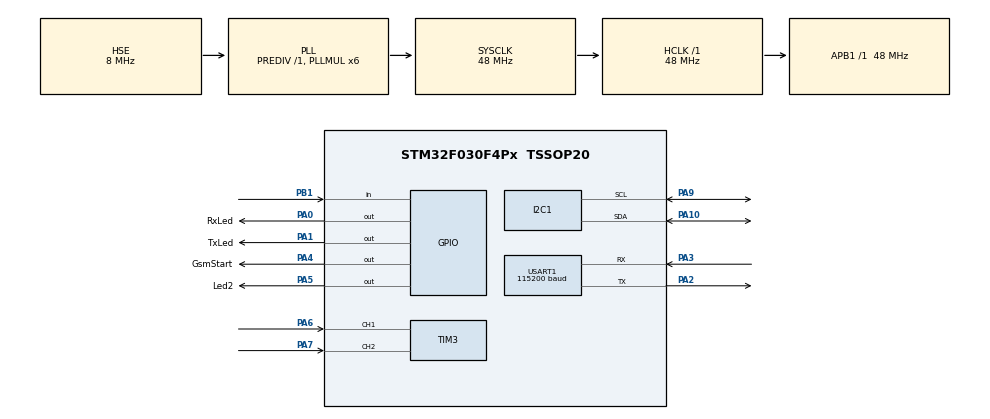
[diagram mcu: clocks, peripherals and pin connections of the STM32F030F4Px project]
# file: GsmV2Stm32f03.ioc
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I2C1.OwnAddress=0x09
Mcu.Family=STM32F0
Mcu.Name=STM32F030F4Px
Mcu.Package=TSSOP20
NVIC.TIM17_IRQn=true\:0\:0\:false\:false\:true\:true\:true\:true
NVIC.USART1_IRQn=true\:0\:0\:false\:false\:true\:true\:true\:true
PA0.GPIO_Label=RxLed
PA0.Signal=GPIO_Output
PA1.GPIO_Label=TxLed
PA1.Signal=GPIO_Output
PA10.GPIO_Pu=GPIO_PULLUP
PA10.Mode=I2C
PA10.Signal=I2C1_SDA
PA13.Mode=Serial_Wire
PA13.Signal=SYS_SWDIO
PA14.Mode=Serial_Wire
PA14.Signal=SYS_SWCLK
PA2.Mode=Asynchronous
PA2.Signal=USART1_TX
PA3.Mode=Asynchronous
PA3.Signal=USART1_RX
PA4.GPIO_Label=GsmStart
PA4.Signal=GPIO_Output
PA5.GPIO_Label=Led2
PA5.Signal=GPIO_Output
PA6.Signal=S_TIM3_CH1
PA7.Signal=S_TIM3_CH2
PA9.GPIO_Pu=GPIO_PULLUP
PA9.Mode=I2C
PA9.Signal=I2C1_SCL
PB1.Signal=GPIO_Input
PF0-OSC_IN.Mode=HSE-External-Oscillator
PF0-OSC_IN.Signal=RCC_OSC_IN
PF1-OSC_OUT.Mode=HSE-External-Oscillator
PF1-OSC_OUT.Signal=RCC_OSC_OUT
ProjectManager.HeapSize=0x200
ProjectManager.StackSize=0x400
ProjectManager.TargetToolchain=MDK-ARM V5.32
RCC.AHBFreq_Value=48000000
RCC.APB1Freq_Value=48000000
RCC.APB1TimFreq_Value=48000000
RCC.HCLKFreq_Value=48000000
RCC.PLLMUL=RCC_PLL_MUL6
RCC.PLLSourceVirtual=RCC_PLLSOURCE_HSE
RCC.SYSCLKFreq_VALUE=48000000
RCC.SYSCLKSource=RCC_SYSCLKSOURCE_PLLCLK
SH.S_TIM3_CH1.0=TIM3_CH1,Encoder_Interface
SH.S_TIM3_CH2.0=TIM3_CH2,Encoder_Interface
TIM17.Period=479
USART1.BaudRate=115200
USART1.VirtualMode-Asynchronous=VM_ASYNC
VP_TIM17_VS_ClockSourceINT.Mode=Enable_Timer
board=custom

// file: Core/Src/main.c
/* USER CODE BEGIN Header */
/**
  ******************************************************************************
  * @file           : main.c
  * @brief          : Main program body
  ******************************************************************************
  * @attention
  *
  * <h2><center>&copy; Copyright (c) 2022 STMicroelectronics.
  * All rights reserved.</center></h2>
  *
  * This software component is licensed by ST under BSD 3-Clause license,
  * the "License"; You may not use this file except in compliance with the
  * License. You may obtain a copy of the License at:
  *                        opensource.org/licenses/BSD-3-Clause
  *
  ******************************************************************************
  */
/* USER CODE END Header */
#include "main.h"

/* USER CODE BEGIN Includes */
#include "math.h"
#include "string.h"
#include "stdio.h"
/* USER CODE END Includes */

/* USER CODE BEGIN PTD */
#define	Versiyon 1

/* USER CODE END PTD */

/* USER CODE BEGIN PD */
# define GsmModulStart HAL_Delay(2000);HAL_GPIO_WritePin(GsmStart_GPIO_Port,GsmStart_Pin,GPIO_PIN_SET);HAL_Delay(800);HAL_GPIO_WritePin(GsmStart_GPIO_Port,GsmStart_Pin,GPIO_PIN_RESET);HAL_Delay(1000)

#define IPR "AT+IPR=115200"
#define CIPCLOSE "AT+CIPCLOSE\r\n"
#define CIPMODE "AT+CIPMODE=0\r\n"
#define CIPMUX "AT+CIPMUX=0\r\n"
#define CSTT "AT+CSTT="%s", "", """
#define CIICR "AT+CIICR\r\n"
#define CIPQSEND "AT+CIPQSEND=1\r\n"
#define ATE0  "ATE0\r\n"
#define AT  "AT\r\n"
#define APNSet "AT+CSTT="soracom.io"\r\n"
#define UPCont  "AT+CIICR\r\n"
#define CIFSR "AT+CIFSR\r\n" // ip sor

#define Led1Set			I2C_IO(1, 1)
#define Led1Reset		I2C_IO(1, 0)
#define Led2Set			I2C_IO(2, 1)
#define Led2Reset		I2C_IO(2, 0)
#define Led3Set			I2C_IO(3, 1)
#define Led3Reset		I2C_IO(3, 0)
#define Led4Set			I2C_IO(4, 1)
#define Led4Reset		I2C_IO(4, 0)

#define bin(a) ((( (a/10000000*128) + \
(((a/1000000)&1)*64) + \
(((a/100000)&1)*32) + \
(((a/10000)&1)*16) + \
(((a/1000)&1)*8) + \
(((a/100)&1)*4) + \
(((a/10)&1)*2) + \
(a&1)) * (a/10000000)) + \
(( ((a/262144)*64) + \
(((a/32768)&1)*32) + \
(((a/4096)&1)*16) + \
(((a/512)&1)*8) + \
(((a/64)&1)*4) + \
(((a/8)&1)*2) + \
(a&1)) * (1-(a/10000000))))

/* USER CODE END PD */

 I2C_HandleTypeDef hi2c1;

TIM_HandleTypeDef htim3;
TIM_HandleTypeDef htim17;

UART_HandleTypeDef huart1;

void SystemClock_Config(void);
static void MX_GPIO_Init(void);
static void MX_USART1_UART_Init(void);
static void MX_I2C1_Init(void);
static void MX_TIM3_Init(void);
static void MX_TIM17_Init(void);
/* USER CODE BEGIN PFP */
void Connect_Tcp_port(char *Ip ,char *Port);
float readTemp() ;
int MS_Delay(int Countt);
void TimerConutMs(void);
void TimerConutMs10(void);
void TimerConutMs100(void);
void TimerConutLoopSn(void);
void TimerConutLoop10Ms(void);
void TimerConutLoop100Ms(void);

void I2C_IO(uint8_t IO, uint8_t HighLow);
uint8_t DataComparator(uint8_t FirstByte  , char Array1[] , char Array2[] );
/* USER CODE END PFP */

/* USER CODE BEGIN 0 */
GPIO_InitTypeDef GPIO_InitStruct = {0};

uint8_t		RecordData[100] __attribute__((at(0x20001000))); // datayi kayidet

uint8_t PinDegistir=0;
uint8_t PinDegistir_t=0;
uint8_t LEDDurum=0;
uint8_t ButonDurum=0;

uint8_t CountUs=0;
uint16_t CountMs=0;
uint8_t Count10Ms=0;
uint8_t Count100Ms=0;
uint16_t EncoderCount=0;

uint8_t LoopSnFlag=0;
uint8_t Loop10MsFlag=0;
uint8_t Loop100MsFlag=0;

uint8_t LoopWatch=0;
float TimeMs=0;
uint32_t TimerCount=0;
#define AdcReadPin 4
uint32_t	ADCValue[AdcReadPin];
float AnalogValue1=0,AnalogValue=0,TempSensVoltmv=0,Volt=0;
uint8_t GsmErrorCount=0;

int			Humidity;
int			TempKart;
uint8_t 	status = 0;
uint8_t 	measure_RH_command = 0xE5;
uint8_t 	measure_Temp_command = 0xE0;
uint8_t 	measured_RH[5] = {0,0,0,0,0};
uint8_t 	measured_Temp[5] = {0,0,0,0,0};

char Dizi1[]={ 'a','z','1','g','h','j','k','w','t','y','u','o'};

char Dizi2[]={ 'a','z','1','g','h','j','k','w','t','y','u','o'};

uint16_t CycleCout = 0;

uint32_t Deger =0;

uint8_t  GsmGelenByte=0;
uint8_t  GsmGelenByteAry[100];
uint8_t GsmByteGonder[20]={'1','2','3','A','B','a','b','2','2','2','2','2','2','2','2','2','2','2','2'};
char TcpIp[40];
	char Msjlar[30];
	char tx_buffer[30];
		char Data_buffer[100];

	char APN[20];

uint8_t GsmByteGonderIndex=1;
uint8_t			GsmGelenByteStart=0;
uint8_t			GsmGelenByteKaydet=0;
uint8_t			GsmGelenByteIndex=0;
uint8_t   	GsmGelenByteStop=0;
uint8_t 	  GsmGelenByteKayitta=0;
uint8_t     GsmTcpStart=0;
uint8_t	Dongudencik=0;
uint8_t PortKApat=0;
uint32_t Count1 =450;
uint8_t	SicaklikSor=0;
uint16_t length=0;
uint8_t sistemKapat=0;
uint8_t 	YanitGeldi=0;
float sicaklikDerce=0;
uint32_t systemCont=0;
float sicaklikInt=0;
float sicaklikFloat=0;
uint8_t I2cOutPin=0;

uint8_t I2cOut=0;
uint8_t DataDogrumu=2;
/* USER CODE END 0 */

int main(void)
{

  /* MCU Configuration--------------------------------------------------------*/

  /* Reset of all peripherals, Initializes the Flash interface and the Systick. */
  HAL_Init();

  /* Configure the system clock */
  SystemClock_Config();

  /* Initialize all configured peripherals */
  MX_GPIO_Init();
  MX_USART1_UART_Init();
  MX_I2C1_Init();
  MX_TIM3_Init();
  MX_TIM17_Init();
  /* USER CODE BEGIN 2 */

//		HAL_Delay(3000);
//		HAL_GPIO_WritePin(TxLed_GPIO_Port,TxLed_Pin,GPIO_PIN_SET);
//		HAL_GPIO_WritePin(GsmStart_GPIO_Port,GsmStart_Pin,GPIO_PIN_SET);
//		HAL_Delay(850);
//		HAL_GPIO_WritePin(GsmStart_GPIO_Port,GsmStart_Pin,GPIO_PIN_RESET);
//		HAL_GPIO_WritePin(TxLed_GPIO_Port,TxLed_Pin,GPIO_PIN_RESET);
//		HAL_Delay(2000);
  /* USER CODE END 2 */

  /* Infinite loop */
  /* USER CODE BEGIN WHILE */

//	GsmModulStart;
		HAL_UART_Receive_IT(&huart1, (uint8_t *) &GsmGelenByte, 1);

//HAL_Delay(5000);
//HAL_Delay(2000);
//	HAL_UART_Transmit_IT(&huart1,(uint8_t *)APN,strlen(APN));HAL_Delay(2000);
//	HAL_UART_Transmit_IT(&huart1,(uint8_t *)IPR,strlen(IPR));HAL_Delay(2000);
//	HAL_UART_Transmit_IT(&huart1,(uint8_t *)CIPCLOSE,strlen(CIPCLOSE));HAL_Delay(2000);
//	HAL_UART_Transmit_IT(&huart1,(uint8_t *)CIPMODE,strlen(CIPMODE));HAL_Delay(2000);
//	HAL_UART_Transmit_IT(&huart1,(uint8_t *)CIPMUX,strlen(CIPMUX));HAL_Delay(2000);

//  	HAL_Delay(1000);HAL_UART_Transmit_IT(&huart1,(uint8_t *)"AT+CIPCLOSE\r\n",strlen("AT+CIPCLOSE\r\n"));
//	 	HAL_Delay(1000);HAL_UART_Transmit_IT(&huart1,(uint8_t *)"AT+CIPMODE=0\r\n",strlen("AT+CIPMODE=0\r\n"));
//	 	HAL_Delay(1000);HAL_UART_Transmit_IT(&huart1,(uint8_t *)"AT+CIPMUX=0\r\n",strlen("AT+CIPMUX=0\r\n"));
//	 	HAL_Delay(1000);HAL_UART_Transmit_IT(&huart1,(uint8_t *)"AT+CSTT=\"api.thingspeak.com/update?api_key=KIJWHEAZY1FKUQPS&field1=40\",\"\",\"\"\r\n",strlen("AT+CSTT=\"api.thingspeak.com/update?api_key=KIJWHEAZY1FKUQPS&field1=40\",\"\",\"\"\r\n"));
//	 	HAL_Delay(1000);HAL_UART_Transmit_IT(&huart1,(uint8_t *)"AT+CSTT=\"internet\",\"\",\"\"\r\n",strlen("AT+CSTT=\"internet\",\"\",\"\"\r\n"));
//	 	HAL_Delay(1000);HAL_UART_Transmit_IT(&huart1,(uint8_t *)"AT+CIICR\r\n",strlen("AT+CIICR\r\n"));
//	 	HAL_Delay(1000);HAL_UART_Transmit_IT(&huart1,(uint8_t *)"AT+CIFSR\r\n",strlen("AT+CIFSR\r\n"));
//		memset(GsmGelenByteAry,0,sizeof(GsmGelenByteAry));
//		HAL_UART_Transmit(&huart1,(uint8_t *)tx_buffer,sprintf(tx_buffer,"AT+CIPSTART=\"TCP\",\"%s\",\"%s\"\r\n",Ip,Port)
//	 	HAL_Delay(1000);HAL_UART_Transmit_IT(&huart1,(uint8_t *)TcpIp,strlen(TcpIp));
// Connect_Tcp_port("78.179.100.206","7272");

//	HAL_UART_Transmit_IT(&huart1,(uint8_t *)CIICR,strlen(CIICR));HAL_Delay(500);
//	HAL_UART_Transmit_IT(&huart1,(uint8_t *)CIFSR,strlen(CIFSR));HAL_Delay(500);
//   Connect_Tcp_port("95.8.172.55","7272");

	__HAL_TIM_CLEAR_IT(&htim17, TIM_IT_UPDATE);
	HAL_TIM_Base_Start_IT(&htim17);	//100us  85.103.18.91
	 HAL_TIM_Base_Start(&htim3);

	while(1)
	{
		if(Loop10MsFlag==1)
		{
		Loop10MsFlag=0;
		TimerConutLoop10Ms();
		}
		if(Loop100MsFlag==1)
		{
		Loop100MsFlag=0;
    TimerConutLoop100Ms();
		}
		if(LoopSnFlag==1)
		{
		LoopSnFlag=0;
		TimerConutLoopSn();
		}
	}
    /* USER CODE END WHILE */

}

void SystemClock_Config(void)
{
  RCC_OscInitTypeDef RCC_OscInitStruct = {0};
  RCC_ClkInitTypeDef RCC_ClkInitStruct = {0};
  RCC_PeriphCLKInitTypeDef PeriphClkInit = {0};

  /** Initializes the RCC Oscillators according to the specified parameters
  * in the RCC_OscInitTypeDef structure.
  */
  RCC_OscInitStruct.OscillatorType = RCC_OSCILLATORTYPE_HSI|RCC_OSCILLATORTYPE_HSE;
  RCC_OscInitStruct.HSEState = RCC_HSE_ON;
  RCC_OscInitStruct.HSIState = RCC_HSI_ON;
  RCC_OscInitStruct.HSICalibrationValue = RCC_HSICALIBRATION_DEFAULT;
  RCC_OscInitStruct.PLL.PLLState = RCC_PLL_ON;
  RCC_OscInitStruct.PLL.PLLSource = RCC_PLLSOURCE_HSE;
  RCC_OscInitStruct.PLL.PLLMUL = RCC_PLL_MUL6;
  RCC_OscInitStruct.PLL.PREDIV = RCC_PREDIV_DIV1;
  if (HAL_RCC_OscConfig(&RCC_OscInitStruct) != HAL_OK)
  {
    Error_Handler();
  }

  /** Initializes the CPU, AHB and APB buses clocks
  */
  RCC_ClkInitStruct.ClockType = RCC_CLOCKTYPE_HCLK|RCC_CLOCKTYPE_SYSCLK
                              |RCC_CLOCKTYPE_PCLK1;
  RCC_ClkInitStruct.SYSCLKSource = RCC_SYSCLKSOURCE_PLLCLK;
  RCC_ClkInitStruct.AHBCLKDivider = RCC_SYSCLK_DIV1;
  RCC_ClkInitStruct.APB1CLKDivider = RCC_HCLK_DIV1;

  if (HAL_RCC_ClockConfig(&RCC_ClkInitStruct, FLASH_LATENCY_1) != HAL_OK)
  {
    Error_Handler();
  }
  PeriphClkInit.PeriphClockSelection = RCC_PERIPHCLK_USART1|RCC_PERIPHCLK_I2C1;
  PeriphClkInit.Usart1ClockSelection = RCC_USART1CLKSOURCE_PCLK1;
  PeriphClkInit.I2c1ClockSelection = RCC_I2C1CLKSOURCE_HSI;
  if (HAL_RCCEx_PeriphCLKConfig(&PeriphClkInit) != HAL_OK)
  {
    Error_Handler();
  }
}

static void MX_I2C1_Init(void)
{

  hi2c1.Instance = I2C1;
  hi2c1.Init.Timing = 0x2000090E;
  hi2c1.Init.OwnAddress1 = 18;
  hi2c1.Init.AddressingMode = I2C_ADDRESSINGMODE_7BIT;
  hi2c1.Init.DualAddressMode = I2C_DUALADDRESS_DISABLE;
  hi2c1.Init.OwnAddress2 = 0;
  hi2c1.Init.OwnAddress2Masks = I2C_OA2_NOMASK;
  hi2c1.Init.GeneralCallMode = I2C_GENERALCALL_DISABLE;
  hi2c1.Init.NoStretchMode = I2C_NOSTRETCH_DISABLE;
  if (HAL_I2C_Init(&hi2c1) != HAL_OK)
  {
    Error_Handler();
  }

  /** Configure Analogue filter
  */
  if (HAL_I2CEx_ConfigAnalogFilter(&hi2c1, I2C_ANALOGFILTER_ENABLE) != HAL_OK)
  {
    Error_Handler();
  }

  /** Configure Digital filter
  */
  if (HAL_I2CEx_ConfigDigitalFilter(&hi2c1, 0) != HAL_OK)
  {
    Error_Handler();
  }

}

static void MX_TIM3_Init(void)
{

  TIM_Encoder_InitTypeDef sConfig = {0};
  TIM_MasterConfigTypeDef sMasterConfig = {0};

  htim3.Instance = TIM3;
  htim3.Init.Prescaler = 0;
  htim3.Init.CounterMode = TIM_COUNTERMODE_UP;
  htim3.Init.Period = 65535;
  htim3.Init.ClockDivision = TIM_CLOCKDIVISION_DIV1;
  htim3.Init.AutoReloadPreload = TIM_AUTORELOAD_PRELOAD_DISABLE;
  sConfig.EncoderMode = TIM_ENCODERMODE_TI1;
  sConfig.IC1Polarity = TIM_ICPOLARITY_RISING;
  sConfig.IC1Selection = TIM_ICSELECTION_DIRECTTI;
  sConfig.IC1Prescaler = TIM_ICPSC_DIV1;
  sConfig.IC1Filter = 0;
  sConfig.IC2Polarity = TIM_ICPOLARITY_RISING;
  sConfig.IC2Selection = TIM_ICSELECTION_DIRECTTI;
  sConfig.IC2Prescaler = TIM_ICPSC_DIV1;
  sConfig.IC2Filter = 0;
  if (HAL_TIM_Encoder_Init(&htim3, &sConfig) != HAL_OK)
  {
    Error_Handler();
  }
  sMasterConfig.MasterOutputTrigger = TIM_TRGO_RESET;
  sMasterConfig.MasterSlaveMode = TIM_MASTERSLAVEMODE_DISABLE;
  if (HAL_TIMEx_MasterConfigSynchronization(&htim3, &sMasterConfig) != HAL_OK)
  {
    Error_Handler();
  }

}

static void MX_TIM17_Init(void)
{

  htim17.Instance = TIM17;
  htim17.Init.Prescaler = 0;
  htim17.Init.CounterMode = TIM_COUNTERMODE_UP;
  htim17.Init.Period = 479;
  htim17.Init.ClockDivision = TIM_CLOCKDIVISION_DIV1;
  htim17.Init.RepetitionCounter = 0;
  htim17.Init.AutoReloadPreload = TIM_AUTORELOAD_PRELOAD_DISABLE;
  if (HAL_TIM_Base_Init(&htim17) != HAL_OK)
  {
    Error_Handler();
  }

}

static void MX_USART1_UART_Init(void)
{

  huart1.Instance = USART1;
  huart1.Init.BaudRate = 115200;
  huart1.Init.WordLength = UART_WORDLENGTH_8B;
  huart1.Init.StopBits = UART_STOPBITS_1;
  huart1.Init.Parity = UART_PARITY_NONE;
  huart1.Init.Mode = UART_MODE_TX_RX;
  huart1.Init.HwFlowCtl = UART_HWCONTROL_NONE;
  huart1.Init.OverSampling = UART_OVERSAMPLING_16;
  huart1.Init.OneBitSampling = UART_ONE_BIT_SAMPLE_DISABLE;
  huart1.AdvancedInit.AdvFeatureInit = UART_ADVFEATURE_NO_INIT;
  if (HAL_UART_Init(&huart1) != HAL_OK)
  {
    Error_Handler();
  }

}

static void MX_GPIO_Init(void)
{
  GPIO_InitTypeDef GPIO_InitStruct = {0};

  /* GPIO Ports Clock Enable */
  __HAL_RCC_GPIOF_CLK_ENABLE();
  __HAL_RCC_GPIOA_CLK_ENABLE();
  __HAL_RCC_GPIOB_CLK_ENABLE();

  /*Configure GPIO pin Output Level */
  HAL_GPIO_WritePin(GPIOA, RxLed_Pin|TxLed_Pin|GsmStart_Pin|Led2_Pin, GPIO_PIN_RESET);

  /*Configure GPIO pins : RxLed_Pin TxLed_Pin GsmStart_Pin Led2_Pin */
  GPIO_InitStruct.Pin = RxLed_Pin|TxLed_Pin|GsmStart_Pin|Led2_Pin;
  GPIO_InitStruct.Mode = GPIO_MODE_OUTPUT_PP;
  GPIO_InitStruct.Pull = GPIO_NOPULL;
  GPIO_InitStruct.Speed = GPIO_SPEED_FREQ_LOW;
  HAL_GPIO_Init(GPIOA, &GPIO_InitStruct);

  /*Configure GPIO pin : PB1 */
  GPIO_InitStruct.Pin = GPIO_PIN_1;
  GPIO_InitStruct.Mode = GPIO_MODE_INPUT;
  GPIO_InitStruct.Pull = GPIO_NOPULL;
  HAL_GPIO_Init(GPIOB, &GPIO_InitStruct);

}

/* USER CODE BEGIN 4 */
void HAL_UART_RxCpltCallback(UART_HandleTypeDef *huart)
{
	if(huart == &huart1)	//GsmSim800
	{
		if(GsmGelenByteIndex==98)
		{
			GsmGelenByteIndex=0;
		}
		if(GsmGelenByteIndex<99)
		{
			GsmGelenByteKayitta=1;
			GsmGelenByteStart=0;
			GsmGelenByteAry[GsmGelenByteIndex] =	GsmGelenByte;
				if((GsmGelenByte == 10 || GsmGelenByte == '!') &&(GsmGelenByteAry[GsmGelenByteIndex-1] == 13 || GsmGelenByteAry[GsmGelenByteIndex-1] == '*') )
				{
					GsmGelenByteIndex=0;
				}
				GsmGelenByteIndex++;
		}
		HAL_GPIO_TogglePin(GPIOA, RxLed_Pin);
		HAL_UART_Receive_IT(&huart1, (uint8_t *) &GsmGelenByte, 1);
	}
}
void HAL_TIM_PeriodElapsedCallback(TIM_HandleTypeDef *htim)
{
	__HAL_TIM_CLEAR_IT(&htim17, TIM_IT_UPDATE);//10us
	CountUs++;
	if(CountUs>=100)
	{//1ms
		CountUs=0;
		TimerConutMs();
		CountMs++;
		if(CountMs>=1000)
		{ //1sn
		 LoopSnFlag=1;
			HAL_GPIO_TogglePin(Led2_GPIO_Port,Led2_Pin);
			CountMs=0;
		}
		Count10Ms++;
		if(Count10Ms>=10)
		{//10ms
			Loop10MsFlag=1;
			Count10Ms=0;
			TimerConutMs10();
		}
		Count100Ms++;
		if(Count100Ms>=100)
		{//100ms
			Loop100MsFlag=1;
			Count100Ms=0;
			TimerConutMs100();
		}

	}
}

void TimerConutMs(void)
{

//		if(DataComparator(1,(char *)GsmGelenByteAry,"ERROR")==1)
//		{
//     GsmErrorCount++;
// 		}
//		if(DataComparator(3,(char *)GsmGelenByteAry,"Out1-Open")==1)
//		{
//			Led1Set;
// 		}
//		if(DataComparator(3,(char *)GsmGelenByteAry,"Out2-Open")==1)
//		{
//			Led2Set;
// 		}
//		if(DataComparator(3,(char *)GsmGelenByteAry,"Out3-Open")==1)
//		{
//			Led3Set;
// 		}
//		if(DataComparator(3,(char *)GsmGelenByteAry,"Out4-Open")==1)
//		{
//			Led4Set;
// 		}
//		if(DataComparator(3,(char *)GsmGelenByteAry,"Out1-Close")==1)
//		{
//			Led1Reset;
// 		}
//		if(DataComparator(3,(char *)GsmGelenByteAry,"Out2-Close")==1)
//		{
//			Led2Reset;
// 		}
//		if(DataComparator(3,(char *)GsmGelenByteAry,"Out3-Close")==1)
//		{
//			Led3Reset;
// 		}
//		if(DataComparator(3,(char *)GsmGelenByteAry,"Out4-Close")==1)
//		{
//			Led4Reset;
// 		}
//		if(DataComparator(3,(char *)GsmGelenByteAry,"Humidity")==1)
//		{
//
// 		}
//		if(DataComparator(3,(char *)GsmGelenByteAry,"Temperature1")==1)
//		{
//
// 		}
//		if(DataComparator(3,(char *)GsmGelenByteAry,"Temperature2")==1)
//		{
//
// 		}
//
}
void TimerConutMs10(void)
{

////////----------------------PinCongif-------------------------/////////////
	if(PinDegistir!=PinDegistir_t)
	{
		PinDegistir_t=PinDegistir;
		GPIO_InitStruct.Pin = GPIO_PIN_1;
		GPIO_InitStruct.Mode = GPIO_MODE_OUTPUT_PP;
		GPIO_InitStruct.Pull = GPIO_NOPULL;
		HAL_GPIO_Init(GPIOB, &GPIO_InitStruct);
		if(LEDDurum==1)HAL_GPIO_WritePin(GPIOB,GPIO_PIN_1,GPIO_PIN_SET);
		if(LEDDurum==0)HAL_GPIO_WritePin(GPIOB,GPIO_PIN_1,GPIO_PIN_RESET);
	}
	else
	{
		PinDegistir_t=PinDegistir+1;
		if(PinDegistir_t>200)PinDegistir_t=0;
		GPIO_InitStruct.Pin = GPIO_PIN_1;
		GPIO_InitStruct.Mode = GPIO_MODE_INPUT;
		GPIO_InitStruct.Pull = GPIO_NOPULL;
		HAL_GPIO_Init(GPIOB, &GPIO_InitStruct);
		if(HAL_GPIO_ReadPin(GPIOB,GPIO_PIN_1)==0)ButonDurum=1;
		if(HAL_GPIO_ReadPin(GPIOB,GPIO_PIN_1)==1)ButonDurum=0;
	}
/////////-----------------------------------------------/////////////
}
void TimerConutMs100(void)
{

}
void TimerConutLoop10Ms(void)
{
	if(GsmGelenByteAry[1]=='l'&&GsmGelenByteAry[2]=='e'&&GsmGelenByteAry[3]=='d'&&GsmGelenByteAry[4]=='1'&&GsmGelenByteAry[5]==' '&&GsmGelenByteAry[6]=='o'&&GsmGelenByteAry[7]=='n')
		{
			HAL_GPIO_WritePin(TxLed_GPIO_Port,TxLed_Pin,GPIO_PIN_SET);
		  YanitGeldi=1;
		}
		if(GsmGelenByteAry[1]=='l'&&GsmGelenByteAry[2]=='e'&&GsmGelenByteAry[3]=='d'&&GsmGelenByteAry[4]=='1'&&GsmGelenByteAry[5]==' '&&GsmGelenByteAry[6]=='o'&&GsmGelenByteAry[7]=='f'&&GsmGelenByteAry[8]=='f')
		{
			HAL_GPIO_WritePin(TxLed_GPIO_Port,TxLed_Pin,GPIO_PIN_RESET);
			YanitGeldi=1;
		}

		if(GsmGelenByteAry[1]=='l'&&GsmGelenByteAry[2]=='e'&&GsmGelenByteAry[3]=='d'&&GsmGelenByteAry[4]=='2'&&GsmGelenByteAry[5]==' '&&GsmGelenByteAry[6]=='o'&&GsmGelenByteAry[7]=='n')
		{
			HAL_GPIO_WritePin(Led2_GPIO_Port,Led2_Pin,GPIO_PIN_SET);YanitGeldi=1;

		}
		if(GsmGelenByteAry[1]=='l'&&GsmGelenByteAry[2]=='e'&&GsmGelenByteAry[3]=='d'&&GsmGelenByteAry[4]=='2'&&GsmGelenByteAry[5]==' '&&GsmGelenByteAry[6]=='o'&&GsmGelenByteAry[7]=='f'&&GsmGelenByteAry[8]=='f')
		{
			HAL_GPIO_WritePin(Led2_GPIO_Port,Led2_Pin,GPIO_PIN_RESET);YanitGeldi=1;
		}

		if(GsmGelenByteAry[1]=='l'&&GsmGelenByteAry[2]=='e'&&GsmGelenByteAry[3]=='d'&&GsmGelenByteAry[4]=='3'&&GsmGelenByteAry[5]==' '&&GsmGelenByteAry[6]=='o'&&GsmGelenByteAry[7]=='n')
		{
//			HAL_GPIO_WritePin(Led3_GPIO_Port,Led3_Pin,GPIO_PIN_SET);YanitGeldi=1;

		}
		if(GsmGelenByteAry[1]=='l'&&GsmGelenByteAry[2]=='e'&&GsmGelenByteAry[3]=='d'&&GsmGelenByteAry[4]=='3'&&GsmGelenByteAry[5]==' '&&GsmGelenByteAry[6]=='o'&&GsmGelenByteAry[7]=='f'&&GsmGelenByteAry[8]=='f')
		{
//			HAL_GPIO_WritePin(Led3_GPIO_Port,Led3_Pin,GPIO_PIN_RESET);YanitGeldi=1;
		}
			if(GsmGelenByteAry[1]=='l'&&GsmGelenByteAry[2]=='e'&&GsmGelenByteAry[3]=='d'&&GsmGelenByteAry[4]=='4'&&GsmGelenByteAry[5]==' '&&GsmGelenByteAry[6]=='o'&&GsmGelenByteAry[7]=='n')
		{
//			HAL_GPIO_WritePin(Led4_GPIO_Port,Led4_Pin,GPIO_PIN_SET);YanitGeldi=1;

		}
		if(GsmGelenByteAry[1]=='l'&&GsmGelenByteAry[2]=='e'&&GsmGelenByteAry[3]=='d'&&GsmGelenByteAry[4]=='4'&&GsmGelenByteAry[5]==' '&&GsmGelenByteAry[6]=='o'&&GsmGelenByteAry[7]=='f'&&GsmGelenByteAry[8]=='f')
		{
//			HAL_GPIO_WritePin(Led4_GPIO_Port,Led4_Pin,GPIO_PIN_RESET);YanitGeldi=1;
		}

	 if(GsmGelenByteAry[1]=='k'&&GsmGelenByteAry[2]=='a'&&GsmGelenByteAry[3]=='c'&&GsmGelenByteAry[4]==' '&&GsmGelenByteAry[5]=='d'&&GsmGelenByteAry[6]=='e'&&GsmGelenByteAry[7]=='r'&&GsmGelenByteAry[8]=='e'&&GsmGelenByteAry[9]=='c'&&GsmGelenByteAry[10]=='e')
	 {
	  SicaklikSor=1;

	 }
	  if(GsmGelenByteAry[1]=='k'&&GsmGelenByteAry[2]=='a'&&GsmGelenByteAry[3]=='p'&&GsmGelenByteAry[4]=='a'&&GsmGelenByteAry[5]=='t')
		{
		  sistemKapat=1;
			SicaklikSor=2;
		}

		  if(GsmGelenByteAry[1]=='i'&&GsmGelenByteAry[2]=='s'&&GsmGelenByteAry[3]=='l'&&GsmGelenByteAry[4]=='e'&&GsmGelenByteAry[5]=='m'&&GsmGelenByteAry[22]=='.')
		{
			SicaklikSor=1;
			HAL_Delay(300);
			sicaklikFloat=(GsmGelenByteAry[23]-0x30)*100+(GsmGelenByteAry[24]-0x30)*10+(GsmGelenByteAry[25]-0x30);
			sicaklikInt=(((GsmGelenByteAry[20]-0x30)*10)+((GsmGelenByteAry[21]-0x30)*1));
			sicaklikFloat=sicaklikInt+sicaklikFloat/1000.f;

		}

}
void TimerConutLoop100Ms(void)
{

	if(ButonDurum==1)
	{
		HAL_GPIO_WritePin(TxLed_GPIO_Port,TxLed_Pin,GPIO_PIN_SET);
	}
	if(ButonDurum==0)
	{
		HAL_GPIO_WritePin(TxLed_GPIO_Port,TxLed_Pin,GPIO_PIN_RESET);
	}

		if((GsmTcpStart==0 )&&(HAL_GPIO_ReadPin(GPIOB,GPIO_PIN_1)==0 ||GsmByteGonderIndex > 0||SicaklikSor==1||YanitGeldi==1||(	GsmGelenByteAry[1]=='s'&&GsmGelenByteAry[2]=='i'&&GsmGelenByteAry[3]=='c'&&GsmGelenByteAry[4]=='a'&&GsmGelenByteAry[5]=='k'&&GsmGelenByteAry[6]=='l'&&GsmGelenByteAry[7]=='i'&&GsmGelenByteAry[8]=='k')) )
		{

		  if(SicaklikSor==1 && YanitGeldi==0 )
				{
					length= sprintf(Data_buffer,"Sicaklik  %d C' \n" , (uint8_t)sicaklikDerce);
					HAL_UART_Transmit_IT(&huart1,(uint8_t *)tx_buffer,sprintf(tx_buffer,"AT+CIPSEND=%d\r\n",length));
					HAL_Delay(200);
					HAL_UART_Transmit_IT(&huart1,(uint8_t *)Data_buffer, strlen(Data_buffer));
					HAL_Delay(200);
				}
			if(SicaklikSor==0 && YanitGeldi==0 )
				{
					length = sprintf(Data_buffer,"islemci sicakligi\n");
					HAL_UART_Transmit_IT(&huart1,(uint8_t *)tx_buffer,sprintf(tx_buffer,"AT+CIPSEND=%d\r\n",length));
					HAL_Delay(200);
					HAL_UART_Transmit_IT(&huart1,(uint8_t *)Data_buffer, strlen(Data_buffer));
					HAL_Delay(200);
				}
				if(YanitGeldi==1 )
				{

					length = sprintf(Data_buffer," Uygulandi \n");
					HAL_UART_Transmit_IT(&huart1,(uint8_t *)tx_buffer,sprintf(tx_buffer,"AT+CIPSEND=%d\r\n",length));
					HAL_Delay(200);
					HAL_UART_Transmit_IT(&huart1,(uint8_t *)Data_buffer, strlen(Data_buffer));
					HAL_Delay(200);
					YanitGeldi=0;
				}
			GsmByteGonderIndex = 0;
			if(sistemKapat==1){HAL_UART_Transmit_IT(&huart1,(uint8_t *)"AT+CIPCLOSE\r\n",strlen("AT+CIPCLOSE\r\n"));	MS_Delay(500);}
			if( YanitGeldi==0)	SicaklikSor=0;
			if( YanitGeldi==0)sistemKapat=0;

		}
  sicaklikDerce  = (uint8_t)readTemp() ;
}
void TimerConutLoopSn(void)
{
	EncoderCount = __HAL_TIM_GetCounter(&htim3);

	if(LoopWatch!=LEDDurum)
	{
		LoopWatch=LEDDurum;
		LEDDurum=1;
		I2C_IO(I2cOut, 1);//Led
	}
	else
	{
		LEDDurum=0;
		I2C_IO(I2cOut, 0);//Led

	}
	LoopWatch++;
}
int MS_Delay(int Countt)
{
	uint32_t CountT =(Countt*10000);
while(CountT--);

}

uint8_t DataComparator(uint8_t FirstByte , char Array1[] , char Array2[] )
{
	uint8_t DataDogru=0;
	uint8_t DataYalis=0;
 if(sizeof(Array2)-1==0 || FirstByte>200 || sizeof(Array2)-1>200)
 {
  DataYalis=1;
 }

 for(uint8_t x=0 ;x < sizeof(Array2)-1 ; x++)
 {

//   dizim[10+x]=(uint8_t)Array1[FirstByte+x];
  if((uint8_t)Array1[FirstByte+x] == Array2[x] )
	{

	  DataDogru++;
	}
	else
	{
//	dizim[x]=Array2[x];
		 DataYalis++;
	}
 }
//  dizim[22]=sizeof(Array2);
//  dizim[21]=DataYalis;
 if(DataYalis > 0) return 0;
 if(DataYalis == 0) return 1;
 if(DataDogru == 0) return 0;
 return 0;
}

void Connect_Tcp_port(char *Ip ,char *Port)
{

		HAL_UART_Transmit_IT(&huart1,(uint8_t *)"AT+CIPCLOSE\r\n",strlen("AT+CIPCLOSE\r\n"));			// Close TCP or UDP connection. (acik bir tcp varsa kapatir )
		HAL_Delay(1000);
		HAL_UART_Transmit_IT(&huart1,(uint8_t *)"AT+CFUN=1\r\n",strlen("AT+CFUN=1\r\n"));
		MS_Delay(1000);
		HAL_UART_Transmit_IT(&huart1,(uint8_t *)"AT+CIPSHUT\r\n",strlen("AT+CIPSHUT\r\n"));
		MS_Delay(1000);
		HAL_UART_Transmit_IT(&huart1,(uint8_t *)"AT+CGATT=0\r\n",strlen("AT+CGATT=0 \r\n"));
		MS_Delay(1000);
		HAL_UART_Transmit_IT(&huart1,(uint8_t *)"\"IP\",airtelgprs.com\"\r\n",strlen("'IP\",airtelgprs.com\"\r\n"));
		MS_Delay(100);
		HAL_UART_Transmit_IT(&huart1,(uint8_t *)"AT+CIPMODE=0\r\n",strlen("AT+CIPMODE=0\r\n"));
		MS_Delay(1000);
		HAL_UART_Transmit_IT(&huart1,(uint8_t *)"AT+CGACT=1,1\r\n",strlen("AT+CGACT=1,1\r\n"));
		MS_Delay(1000);
		HAL_UART_Transmit_IT(&huart1,(uint8_t *)"AT+CSTT=\"airtelgprs.com\"\r\n",strlen("AT+CSTT=\"airtelgprs.com\"\r\n"));
		MS_Delay(1000);
		HAL_UART_Transmit_IT(&huart1,(uint8_t *)"AT+CIICR\r\n",strlen("AT+CIICR\r\n"));
		MS_Delay(1000);
		HAL_UART_Transmit_IT(&huart1,(uint8_t *)"AT+CIFSR\r\n",strlen("AT+CIFSR\r\n"));
		MS_Delay(2000);
//	HAL_UART_Transmit_IT(&huart1,(uint8_t *)"AT+IPR=115200\r\n",strlen("AT+IPR=115200\r\n")); // set sim800 uart baudrate to 9600 (baudrate 9600 olarak ayarlar )
//	MS_Delay(100);
//	 /// DAOKDA
//	HAL_UART_Transmit_IT(&huart1,(uint8_t *)"AT+CIPCLOSE\r\n",strlen("AT+CIPCLOSE\r\n"));			// Close TCP or UDP connection. (acik bir tcp varsa kapatir )
//	HAL_Delay(100);
//	  ///DACLOSE OKDA
//	HAL_UART_Transmit_IT(&huart1,(uint8_t *)"AT+CIPMODE=0\r\n",strlen("AT+CIPMODE=0\r\n"));		// TCP Application Mode : 0->Normal Mode ,1->Transparent Mode ( tcp calisma modunu ayarlanir)
//	MS_Delay(100);
//	  //DA+CME ERROR: 3DA
//	HAL_UART_Transmit_IT(&huart1,(uint8_t *)"AT+CIPMUX=0\r\n",strlen("AT+CIPMUX=0\r\n"));			// Single IP connection (ip adresine baglati olacagini ayarlar)
//	MS_Delay(100);
//	 //DA+CME ERROR: 3DA
//	HAL_UART_Transmit_IT(&huart1,(uint8_t *)"AT+CSTT=\"'airtelgprs.com\",\"\",\"\"\r\n",strlen("AT+CSTT=\"internet\",\"\",\"\"\r\n"));	// APN settings (simkartini apn ayarlarini internet olarak yapapar)
//	MS_Delay(100);
//	 //DA+CME ERROR: 3DA
//	HAL_UART_Transmit_IT(&huart1,(uint8_t *)"AT+CIICR\r\n",strlen("AT+CIICR\r\n")); // Bring Up Wireless Connection with GPRS or CSD ( kablosuz baglanti istegi)
//	MS_Delay(1000);
//
//	HAL_UART_Transmit_IT(&huart1,(uint8_t *)"AT+CIFSR\r\n",strlen("AT+CIFSR\r\n")); // Get Local IP Address ( sim800 kendi global ip 'si)
//	MS_Delay(100);
//
//
	HAL_UART_Transmit_IT(&huart1,(uint8_t *)tx_buffer,sprintf(tx_buffer,"AT+CIPSTART=\"TCP\",\"%s\",\"%s\"\r\n",Ip,Port)); // Start up TCP connection(tpc baslat ip adresi ve port)
	GsmTcpStart=1;
	HAL_GPIO_WritePin(Led2_GPIO_Port,Led2_Pin,GPIO_PIN_RESET);

	Count1 = (Count1*100000);
	PortKApat=1;
	while(GsmTcpStart && HAL_GPIO_ReadPin(GPIOB,GPIO_PIN_1)==1 )
	{
		Count1--;
	if(Count1==0)NVIC_SystemReset();
	HAL_GPIO_WritePin(Led2_GPIO_Port,Led2_Pin,GPIO_PIN_SET);
	if(GsmGelenByteAry[1]=='C'&&GsmGelenByteAry[2]=='O'&&GsmGelenByteAry[3]=='N'&&GsmGelenByteAry[4]=='N'&&GsmGelenByteAry[5]=='E'&&GsmGelenByteAry[6]=='C'&&GsmGelenByteAry[7]=='T'&&GsmGelenByteAry[8]==' '&&GsmGelenByteAry[9]=='O'&&GsmGelenByteAry[10]=='K')
	{
	 GsmTcpStart=0;
//			HAL_GPIO_WritePin(Led4_GPIO_Port,Led4_Pin,GPIO_PIN_SET);
	}
	if(GsmGelenByteAry[1]=='A'&&GsmGelenByteAry[2]=='L'&&GsmGelenByteAry[3]=='R'&&GsmGelenByteAry[4]=='E'&&GsmGelenByteAry[5]=='A'&&GsmGelenByteAry[6]=='D'&&GsmGelenByteAry[7]=='Y'&&GsmGelenByteAry[8]==' '&&GsmGelenByteAry[9]=='C'&&GsmGelenByteAry[10]=='O'&&GsmGelenByteAry[11]=='N'&&GsmGelenByteAry[12]=='N'&&GsmGelenByteAry[13]=='E'&&GsmGelenByteAry[14]=='C'&&GsmGelenByteAry[15]=='T')
	{
		 GsmTcpStart=0;
//			HAL_GPIO_WritePin(Led3_GPIO_Port,Led3_Pin,GPIO_PIN_SET);

	}
	if(GsmGelenByteAry[1]=='E'&&GsmGelenByteAry[2]=='R'&&GsmGelenByteAry[3]=='R'&&GsmGelenByteAry[4]=='O'&&GsmGelenByteAry[5]=='R')
	{
//		if(PortKApat==1)
//			{
//			HAL_UART_Transmit_IT(&huart1,(uint8_t *)"AT+CIPCLOSE\r\n",strlen("AT+CIPCLOSE\r\n"));
//				MS_Delay(500);
//			PortKApat=0;
//			}
//		HAL_GPIO_WritePin(Led3_GPIO_Port,Led3_Pin,GPIO_PIN_SET);
		HAL_GPIO_WritePin(Led2_GPIO_Port,Led2_Pin,GPIO_PIN_RESET);
		if(Count1<3500000)HAL_GPIO_WritePin(GsmStart_GPIO_Port,GsmStart_Pin,GPIO_PIN_SET);

	}

		if(GsmGelenByteAry[1]=='C'&&GsmGelenByteAry[2]=='O'&&GsmGelenByteAry[3]=='N'&&GsmGelenByteAry[4]=='N'&&GsmGelenByteAry[5]=='E'&&GsmGelenByteAry[6]=='C'&&GsmGelenByteAry[7]=='T'&&GsmGelenByteAry[8]==' '&&GsmGelenByteAry[9]=='F'&&GsmGelenByteAry[10]=='A'&&GsmGelenByteAry[11]=='I'&&GsmGelenByteAry[12]=='L')
	{
		if(PortKApat==1)
				{

				HAL_UART_Transmit_IT(&huart1,(uint8_t *)"AT+CIPCLOSE\r\n",strlen("AT+CIPCLOSE\r\n"));
					MS_Delay(500);
						HAL_UART_Transmit_IT(&huart1,(uint8_t *)tx_buffer,sprintf(tx_buffer,"AT+CIPSTART=\"TCP\",\"%s\",\"%s\"\r\n",Ip,"123")); // Start up TCP connection(tpc baslat ip adresi ve port)
         MS_Delay(500);
				PortKApat=0;
				}
//		HAL_GPIO_WritePin(Led4_GPIO_Port,Led4_Pin,GPIO_PIN_SET);
//		HAL_GPIO_WritePin(Led3_GPIO_Port,Led3_Pin,GPIO_PIN_SET);
		if(Count1<3500000)	HAL_GPIO_WritePin(GsmStart_GPIO_Port,GsmStart_Pin,GPIO_PIN_SET);

	}
	}
		HAL_GPIO_WritePin(Led2_GPIO_Port,Led2_Pin,GPIO_PIN_RESET);
	MS_Delay(1000);

	 // DAOKDACONNET OKDA

//	HAL_UART_Transmit_IT(&huart1,(uint8_t *)"AT+CIPQSEND=1\r\n",strlen("AT+CIPQSEND=1\r\n")); // Select Data Transmitting Mode. 0->Normal mode ,1->Quick send mode (AT+CIPQSEND=1 giden datayi acar )
//	MS_Delay(100);

//
//	HAL_UART_Transmit_IT(&huart1,(uint8_t *)"ATE0\r\n",strlen("ATE0\r\n"));									// Set Command Echo Mode. 0->Echo mode off,1->Echo mode on (komut konfigure)
//	MS_Delay(100);
}

uint8_t eepromOku(uint8_t adres)
{
	uint8_t data;

	uint8_t status=HAL_I2C_Mem_Read(&hi2c1, 0xA0,adres,I2C_MEMADD_SIZE_8BIT,&data,1,1);
	HAL_Delay(2);
	return(data);
}
void eepromYaz(uint8_t adres, 		uint8_t data)
{
	HAL_I2C_Mem_Write(&hi2c1, 0xA0,adres,I2C_MEMADD_SIZE_8BIT,&data,1,10);
	HAL_Delay(2);

}

float readTemp() {
	float temperature;
	uint8_t temp[2];
	float f_temp[2];

	if(HAL_I2C_Mem_Read(&hi2c1, (0x18 << 1) | 0x01, 0x05, 1, temp, 2, 10) == HAL_OK) {
		temp[0] = temp[0] & 0x1F;
		if((temp[0] & 0x10) == 0x10) {
		  temp[0] = temp[0] & 0x0F;
		  f_temp[0] = temp[0];
		  f_temp[1] = temp[1];
		  temperature = 256 - (f_temp[0] * 16 + f_temp[1] / 16);
		} else {
		  f_temp[0] = temp[0];
		  f_temp[1] = temp[1];
		  temperature = (f_temp[0]* 16 + f_temp[1] / 16);
		}
	} else
	{

  	HAL_I2C_Master_Transmit(&hi2c1, 0x80, &measure_RH_command, 1, 0x0F);
		status = HAL_I2C_Master_Receive(&hi2c1, 0x80, &measured_RH[0], 2, 0xFF);
		HAL_I2C_Master_Transmit(&hi2c1, 0x80, &measure_Temp_command, 1, 0x0F);
		status = HAL_I2C_Master_Receive(&hi2c1, 0x80, &measured_Temp[0], 2, 0xFF);

		Humidity = ((measured_RH[0] << 8) | measured_RH[1]) * 0.0019073486328125f - 6;
		TempKart = ((measured_Temp[0] << 8) | measured_Temp[1]) * 0.0026812744140625f - 46.85f;

		return TempKart;

	  }

	return temperature;

}
void I2C_IO(uint8_t IO, uint8_t HighLow)
{
	switch(IO)
	{//i2c bagli gpio cogaltici bit aktif etmek icin
		case 0:
		if(HighLow==1)
		{
			I2cOutPin = 255;
		}
		if(HighLow==0)
		{
			I2cOutPin =0;
		}
		break;

		case 1:
		if(HighLow==1)
		{
			I2cOutPin = I2cOutPin | bin(00000001);
		}
		if(HighLow==0)
		{
			I2cOutPin =	I2cOutPin & bin(11111110);
		}
		break;

		case 2:
		if(HighLow==1)
		{
			I2cOutPin = I2cOutPin | bin(00000010);
		}
		if(HighLow==0)
		{
			I2cOutPin =	I2cOutPin & bin(11111101);
		}
		break;

		case 3:
		if(HighLow==1)
		{
			I2cOutPin = I2cOutPin | bin(00000100);
		}
		if(HighLow==0)
		{
			I2cOutPin =	I2cOutPin & bin(11111011);
		}
		break;

		case 4:
		if(HighLow==1)
		{
			I2cOutPin = I2cOutPin | bin(00001000);
		}
		if(HighLow==0)
		{
			I2cOutPin =	I2cOutPin & bin(11110111);
		}
		break;

		case 5:
		if(HighLow==1)
		{
			I2cOutPin = I2cOutPin | bin(00010000);
		}
		if(HighLow==0)
		{
			I2cOutPin =	I2cOutPin & bin(11101111);
		}
		break;

		case 6:
		if(HighLow==1)
		{
			I2cOutPin = I2cOutPin | bin(01000000);
		}
		if(HighLow==0)
		{
			I2cOutPin =	I2cOutPin & bin(10111111);
		}
		break;

		case 7:
		if(HighLow==1)
		{
			I2cOutPin = I2cOutPin | bin(10000000);
		}
		if(HighLow==0)
		{
			I2cOutPin =	I2cOutPin & bin(01111111);
		}
		break;
	}
	if( HAL_I2C_GetState(&hi2c1) != HAL_I2C_STATE_BUSY_TX  && HAL_I2C_GetState(&hi2c1) != HAL_I2C_STATE_BUSY )
	{ //I2c hatindan veri tarnferi varsa gonderilecek komutlar bekliyor hat bosalana kadar saglikli bir haberlesme i?in
		HAL_I2C_Master_Transmit(&hi2c1, 0x40,&I2cOutPin, 1, 50);// kullandigimiz 8bit 0x40 adresli gpio cogaltici
	}

}
/* USER CODE END 4 */

void Error_Handler(void)
{
  __disable_irq();
  while (1)
  {
  }
}
